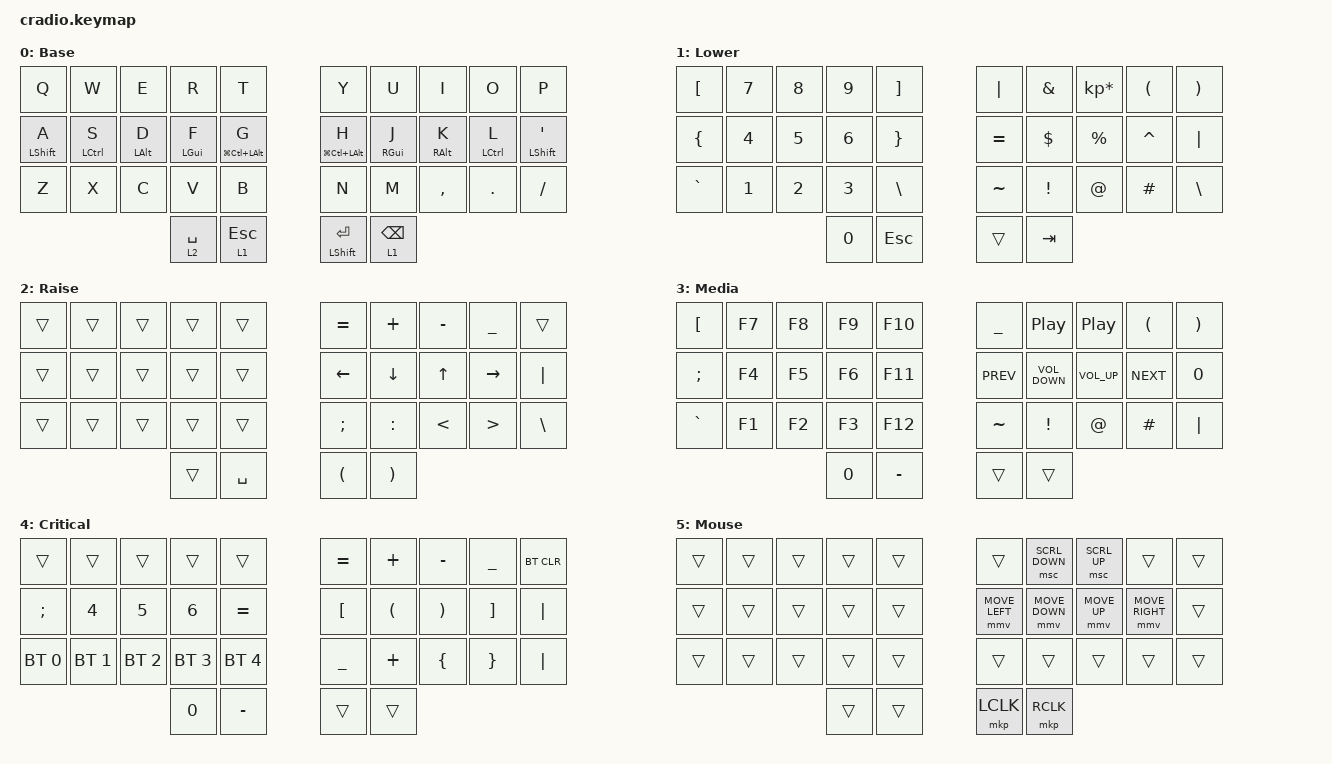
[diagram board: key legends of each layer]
/*
* Copyright (c) 2020 The ZMK Contributors
*
* SPDX-License-Identifier: MIT
*/

#include <behaviors.dtsi>
#include <dt-bindings/zmk/keys.h>
#include <dt-bindings/zmk/bt.h>
#include <dt-bindings/zmk/mouse.h>
#include "combos.dtsi"

&mt {
  flavor = "hold-preferred";
  tapping-term-ms = <280>;
  quick-tap-ms = <279>;
};

&lt {
  tapping-term-ms = <150>;
  quick-tap-ms = <150>;
  hold-trigger-on-release;
};

#define MEH LG(LC(LALT))

/ {
  behaviors {
    hm_l: homerow_mods_left {
      compatible = "zmk,behavior-hold-tap";
      #binding-cells = <2>;
      tapping-term-ms = <280>;
      quick-tap-ms = <279>;
      require-prior-idle-ms = <100>;
      flavor = "balanced";
      bindings = <&kp>, <&kp>;
      hold-trigger-on-release;
      hold-trigger-key-positions = <5 6 7 8 9 15 16 17 18 19 25 26 27 28 29 30 31 32 33>;
    };
    hm_r: homerow_mods_right {
      compatible = "zmk,behavior-hold-tap";
      #binding-cells = <2>;
      tapping-term-ms = <280>;
      quick-tap-ms = <279>;
      require-prior-idle-ms = <100>;
      flavor = "balanced";
      bindings = <&kp>, <&kp>;
      hold-trigger-on-release;
      hold-trigger-key-positions = <0 1 2 3 4 10 11 12 13 14 20 21 22 23 24 30 31 32 33>;
    };
    space_lt: space_layer_tap {
      compatible = "zmk,behavior-hold-tap";
      #binding-cells = <2>;
      tapping-term-ms = <175>;
      quick-tap-ms = <174>;
      flavor = "balanced";
      hold-trigger-on-release;
      bindings = <&mo>, <&kp>;
    };
  };


  keymap {
    compatible = "zmk,keymap";

    default_layer {
      display-name = "Base";
      bindings = <
        &kp Q &kp W &kp E &kp R &kp T   &kp Y &kp U  &kp I     &kp O   &kp P
        &hm_l LSHIFT A &hm_l LCTRL S &hm_l LALT D &hm_l LGUI F &hm_l MEH G   &hm_r MEH H &hm_r RGUI J  &hm_r RALT K  &hm_r LCTRL L  &hm_r LSHIFT SQT
        &kp Z &kp X &kp C &kp V &kp B   &kp N &kp M  &kp COMMA &kp DOT &kp FSLH
        &lt 2 SPACE &lt 1 ESC      &mt LSHIFT RET &lt 1 BSPC
      >;
    };
    lower_layer {
      display-name = "Lower";
      bindings = <
        &kp LBKT        &kp N7      &kp N8        &kp N9      &kp RBKT          &kp PIPE &kp AMPS  &kp KP_MULTIPLY &kp LPAR &kp RPAR
        &kp LBRC       &kp N4       &kp N5       &kp N6       &kp RBRC        &kp EQUAL   &kp DOLLAR   &kp PRCNT &kp CARET &kp PIPE
        &kp GRAVE       &kp N1       &kp N2       &kp N3       &kp BSLH         &kp TILDE   &kp EXCL   &kp AT &kp HASH &kp BSLH
        &kp N0 &kp ESC       &trans &kp TAB
      >;
    };

    raise_layer {
      display-name = "Raise";
      bindings = <
        &trans   &trans &trans   &trans   &trans                              &kp EQUAL &kp PLUS &kp MINUS &kp UNDER &trans
        &trans   &trans &trans   &trans   &trans                              &kp LEFT &kp DOWN &kp UP &kp RIGHT &kp PIPE
        &trans &trans &trans &trans &trans                                      &kp SEMI &kp COLON  &kp LESS_THAN  &kp GREATER_THAN &kp BSLH
        &trans   &kp SPACE   &kp LPAR   &kp RPAR
      >;
    };

    media_layer {
      display-name = "Media";
      bindings = <
        &kp LBKT        &kp F7      &kp F8        &kp F9      &kp F10          &kp UNDER &kp C_PP  &kp C_PP &kp LPAR &kp RPAR
        &kp SEMI       &kp F4       &kp F5       &kp F6       &kp F11        &kp C_PREV   &kp C_VOLUME_DOWN   &kp C_VOLUME_UP &kp C_NEXT &kp N0
        &kp GRAVE       &kp F1       &kp F2       &kp F3       &kp F12         &kp TILDE   &kp EXCL   &kp AT &kp HASH &kp PIPE
        &kp N0 &kp MINUS       &trans &trans
      >;
    };

    critical_layer {
      display-name = "Critical";
      bindings = <
        &trans   &trans &trans   &trans   &trans                              &kp EQUAL &kp PLUS &kp MINUS &kp UNDER &bt BT_CLR
        &kp SEMI       &kp N4       &kp N5       &kp N6       &kp EQUAL        &kp LBKT   &kp LPAR  &kp RPAR &kp RBKT &kp PIPE
        &bt BT_SEL 0 &bt BT_SEL 1 &bt BT_SEL 2 &bt BT_SEL 3 &bt BT_SEL 4     &kp UNDER &kp PLUS  &kp LBRC  &kp RBRC &kp PIPE
        &kp N0 &kp MINUS       &trans &trans
      >;
    };

    mouse_layer {
      display-name = "Mouse";
      bindings = <
        &trans   &trans &trans   &trans   &trans                              &trans &msc SCRL_DOWN &msc SCRL_UP &trans &trans
        &trans   &trans &trans   &trans   &trans                              &mmv MOVE_LEFT &mmv MOVE_DOWN &mmv MOVE_UP &mmv MOVE_RIGHT &trans
        &trans &trans &trans &trans &trans                                      &trans &trans  &trans  &trans &trans
        &trans &trans       &mkp LCLK &mkp RCLK
      >;
    };

    extra_1 {
      status = "reserved";
    };

    extra_2 {
      status = "reserved";
    };

    extra_3 {
      status = "reserved";
    };

    extra_4 {
      status = "reserved";
    };

    extra_5 {
      status = "reserved";
    };
  };
};
